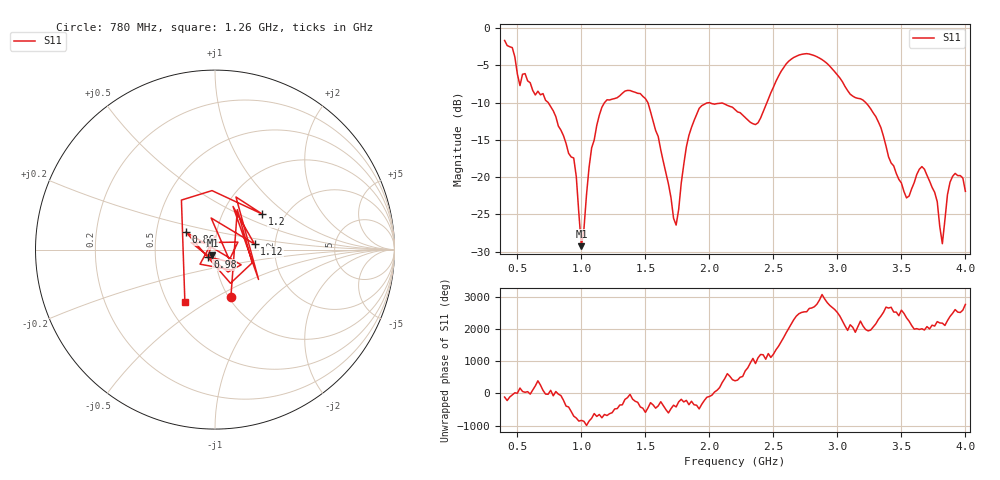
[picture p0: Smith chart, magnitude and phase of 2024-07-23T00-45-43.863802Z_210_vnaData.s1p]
!Created with skrf (http://scikit-rf.org).
# Hz S RI R 50.0
!freq ReS11 ImS11
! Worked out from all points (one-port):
!   181 points, 400 MHz to 4 GHz, reference 50 ohm
!   lowest |S11| = -29.3 dB at 1 GHz (marker M1), VSWR 1.07, Z = 48.5 - j3.04 ohm
!   |S11| at or under -10 dB: 740.6 MHz to 1.181 GHz (440.5 MHz wide, 45.8 % of centre); 1.519 GHz to 2.449 GHz (930.1 MHz wide, 46.9 % of centre); 3.221 GHz to end of sweep
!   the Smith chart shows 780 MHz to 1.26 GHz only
!   S11 on the Smith chart (normalised r, x): 780 MHz: 1.02, -0.59; 860 MHz: 0.71, +0.14; 980 MHz: 0.92, -0.07; 1.12 GHz: 1.56, +0.10; 1.2 GHz: 1.54, +0.68; 1.26 GHz: 0.61, -0.40
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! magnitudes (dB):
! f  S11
! 400 MHz  -1.7
! 520 MHz  -7.7
! 780 MHz  -11.1
! 860 MHz  -14.4
! 940 MHz  -17.4
! 980 MHz  -24.8
! 1 GHz  -29.3
! 1.06 GHz  -18.7
! 1.12 GHz  -13.1
! 1.2 GHz  -9.6
! 1.26 GHz  -9.5
! 1.3 GHz  -9.1
! 1.52 GHz  -10.0
! 1.72 GHz  -25.5
! 1.76 GHz  -24.3
! 1.82 GHz  -15.9
! 1.92 GHz  -10.8
! 2.2 GHz  -10.9
! 2.38 GHz  -12.7
! 2.66 GHz  -3.9
! 3.1 GHz  -8.9
! 3.3 GHz  -11.9
! 3.56 GHz  -22.5
! 3.68 GHz  -18.9
! 3.78 GHz  -23.3
! 3.82 GHz  -28.9
! 3.9 GHz  -19.9
! 4 GHz  -21.9
